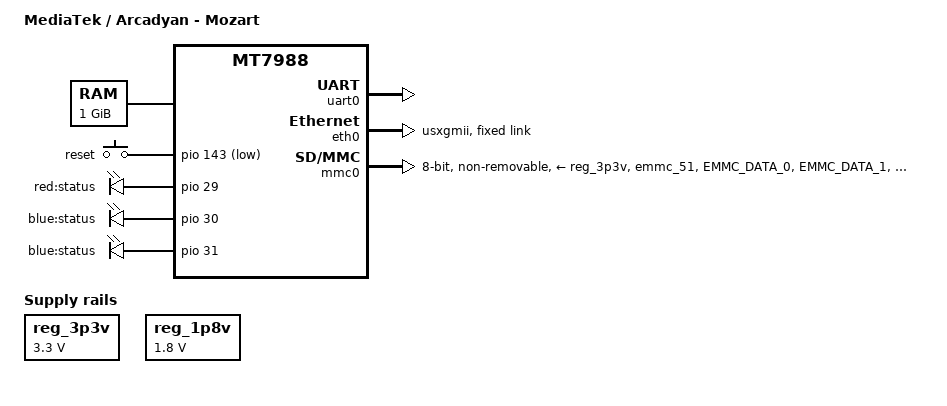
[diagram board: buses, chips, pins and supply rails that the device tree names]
// SPDX-License-Identifier: GPL-2.0

/dts-v1/;
#include "mt7988.dtsi"
#include <dt-bindings/gpio/gpio.h>
#include <dt-bindings/input/linux-event-codes.h>

/ {
	model = "MediaTek / Arcadyan - Mozart";
	compatible = "arcadyan,mozart", "mediatek,mt7988";

	chosen {
		stdout-path = &uart0;
	};

	memory@40000000 {
		device_type = "memory";
		reg = <0 0x40000000 0 0x40000000>;
	};

	reg_3p3v: regulator-3p3v {
		compatible = "regulator-fixed";
		regulator-name = "fixed-3.3V";
		regulator-min-microvolt = <3300000>;
		regulator-max-microvolt = <3300000>;
		regulator-boot-on;
		regulator-always-on;
	};

	reg_1p8v: regulator-1p8v {
		compatible = "regulator-fixed";
		regulator-name = "fixed-1.8V";
		regulator-min-microvolt = <1800000>;
		regulator-max-microvolt = <1800000>;
		regulator-boot-on;
		regulator-always-on;
	};

	keys {
		compatible = "gpio-keys";

		wps {
			label = "reset";
			linux,code = <KEY_RESTART>;
			gpios = <&pio 143 GPIO_ACTIVE_LOW>;
		};
	};

	leds {
		compatible = "gpio-leds";

		led-red {
			label = "red:status";
			gpios = <&pio 29 GPIO_ACTIVE_HIGH>;
		};

		led-green {
			label = "blue:status";
			gpios = <&pio 30 GPIO_ACTIVE_HIGH>;
		};
		
		led-blue {
			label = "blue:status";
			gpios = <&pio 31 GPIO_ACTIVE_HIGH>;
		};
	};
};

&uart0 {
	status = "okay";
};

&eth0 {
	status = "okay";
	mediatek,gmac-id = <0>;
	phy-mode = "usxgmii";
	mediatek,switch = "mt7988";

	fixed-link {
		speed = <1000>;
		full-duplex;
		pause;
	};
};

&pio {
	mmc0_pins_default: mmc0default {
		mux {
			function = "flash";
			groups =  "emmc_51";
		};

		conf-cmd-dat {
			pins = "EMMC_DATA_0", "EMMC_DATA_1", "EMMC_DATA_2",
			       "EMMC_DATA_3", "EMMC_DATA_4", "EMMC_DATA_5",
			       "EMMC_DATA_6", "EMMC_DATA_7", "EMMC_CMD";
			input-enable;
		};

		conf-clk {
			pins = "EMMC_CK";
		};

		conf-dsl {
			pins = "EMMC_DSL";
		};

		conf-rst {
			pins = "EMMC_RSTB";
		};
	};
};

&mmc0 {
	pinctrl-names = "default";
	pinctrl-0 = <&mmc0_pins_default>;
	max-frequency = <52000000>;
	bus-width = <8>;
	cap-mmc-highspeed;
	cap-mmc-hw-reset;
	vmmc-supply = <&reg_3p3v>;
	vqmmc-supply = <&reg_1p8v>;
	non-removable;
	status = "okay";
};
